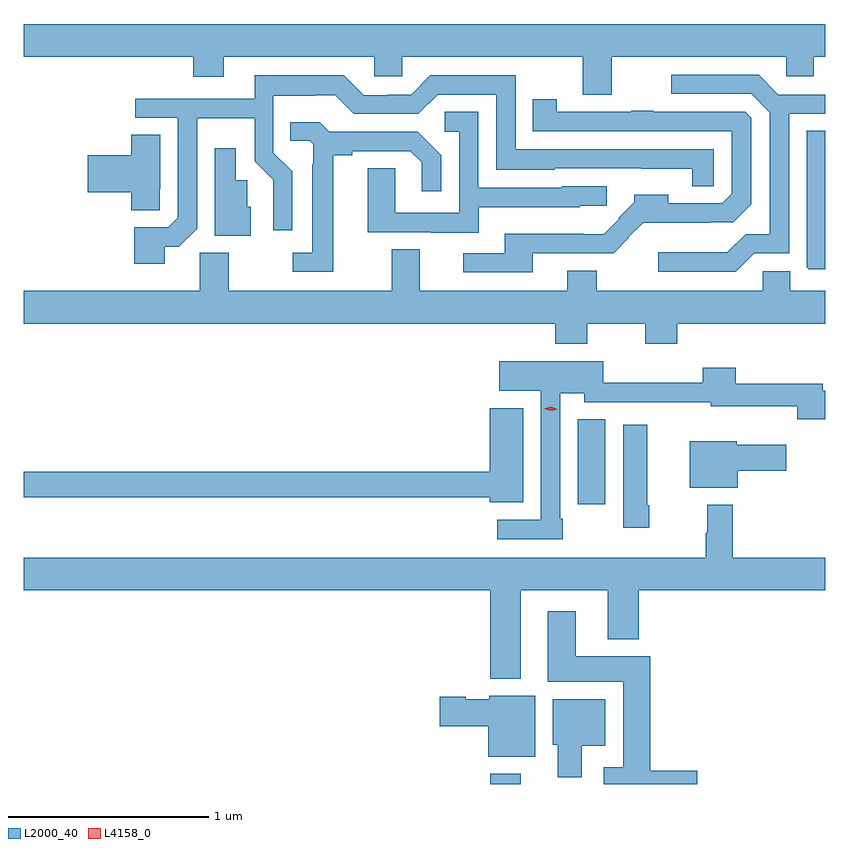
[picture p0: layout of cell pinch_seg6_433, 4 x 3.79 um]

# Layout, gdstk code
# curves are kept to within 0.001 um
import gdstk
lib = gdstk.Library(unit=1e-6, precision=1e-09)
def R(c, l, rs):  # rectangles x0, y0, x1, y1
    for r in rs: c.add(gdstk.rectangle(r[:2], r[2:], *l))
def P(c, l, *ps):  # polygons
    for p in ps: c.add(gdstk.Polygon(p, *l))
L2000_40 = (2000, 40)
L4158_0 = (4158, 0)

pinch_seg6_433 = lib.new_cell('pinch_seg6_433')
R(pinch_seg6_433, L2000_40, [(701.273,921.062,701.425,921.112), (701.711,922.458,701.848,922.883)])
P(pinch_seg6_433, L2000_40, [(701.881,924.692),(702.75,924.692),(702.75,924.594),(702.889,924.594),(702.889,924.692),(702.945,924.692),(702.945,924.856),(698.945,924.856),(698.945,924.692),(699.791,924.692),(699.791,924.593),(699.943,924.593),(699.943,924.692),(700.695,924.692),(700.695,924.594),(700.833,924.594),(700.833,924.692),(701.734,924.692),(701.734,924.502),(701.881,924.502)],
  [(702.591,923.712),(702.765,923.712),(702.765,924.408),(702.945,924.408),(702.945,924.504),(702.712,924.504),(702.613,924.603),(702.177,924.603),(702.177,924.507),(702.576,924.507),(702.669,924.414),(702.669,923.807),(702.548,923.807),(702.457,923.716),(702.111,923.716),(702.111,923.619),(702.498,923.619)],
  [(699.649,923.743),(699.717,923.743),(699.81,923.835),(699.81,924.386),(700.098,924.386),(700.098,924.17),(700.19,924.078),(700.19,923.826),(700.284,923.826),(700.284,924.12),(700.191,924.213),(700.191,924.497),(700.4,924.497),(700.4,924.501),(700.5,924.501),(700.593,924.408),(700.914,924.408),(701.01,924.504),(701.304,924.504),(701.304,924.128),(701.595,924.128),(701.595,924.135),(702.282,924.134),(702.282,924.046),(702.39,924.046),(702.39,924.231),(701.4,924.231),(701.4,924.6),(700.974,924.6),(700.878,924.504),(700.758,924.504),(700.758,924.501),(700.641,924.501),(700.541,924.601),(700.097,924.601),(700.097,924.483),(699.501,924.483),(699.501,924.387),(699.714,924.387),(699.714,923.889),(699.666,923.841),(699.497,923.841),(699.497,923.658),(699.649,923.658)],
  [(701.485,923.712),(701.889,923.712),(701.965,923.789),(701.963,923.791),(702.037,923.865),(702.371,923.864),(702.371,923.866),(702.487,923.866),(702.576,923.955),(702.576,924.387),(702.546,924.417),(702.089,924.417),(702.089,924.422),(701.977,924.422),(701.977,924.417),(701.604,924.417),(701.604,924.481),(701.485,924.481),(701.485,924.321),(702.48,924.321),(702.48,924.009),(702.432,923.961),(702.163,923.961),(702.163,924.004),(701.992,924.004),(701.992,923.965),(701.913,923.886),(701.916,923.883),(701.84,923.807),(701.738,923.807),(701.738,923.809),(701.345,923.809),(701.345,923.712),(701.139,923.712),(701.139,923.616),(701.485,923.616)],
  [(701.215,923.942),(701.721,923.942),(701.721,923.949),(701.856,923.949),(701.856,924.045),(701.631,924.045),(701.631,924.039),(701.214,924.039),(701.214,924.419),(701.046,924.419),(701.046,924.318),(701.118,924.318),(701.118,923.913),(700.8,923.913),(700.8,924.137),(700.661,924.137),(700.661,923.817),(700.979,923.817),(700.979,923.813),(701.215,923.813)],
  [(700.489,924.202),(700.585,924.202),(700.585,924.222),(700.874,924.222),(700.931,924.165),(700.931,924.021),(701.028,924.021),(701.028,924.202),(700.912,924.318),(700.47,924.318),(700.422,924.365),(700.276,924.365),(700.276,924.273),(700.371,924.273),(700.389,924.255),(700.389,924.155),(700.385,924.155),(700.385,923.715),(700.287,923.715),(700.287,923.619),(700.489,923.619)],
  [(702.945,924.323),(702.854,924.323),(702.854,923.641),(702.864,923.631),(702.945,923.631)],
  [(699.624,924.034),(699.625,924.034),(699.625,924.302),(699.482,924.302),(699.482,924.2),(699.264,924.2),(699.264,924.017),(699.482,924.017),(699.482,923.926),(699.624,923.926)],
  [(700.078,923.943),(700.059,923.943),(700.059,924.075),(700.003,924.075),(700.003,924.235),(699.899,924.235),(699.899,923.798),(700.078,923.798)],
  [(701.597,923.261),(701.757,923.261),(701.757,923.36),(702.046,923.36),(702.046,923.261),(702.206,923.261),(702.206,923.36),(702.945,923.36),(702.945,923.524),(702.772,923.524),(702.772,923.622),(702.633,923.622),(702.633,923.524),(701.805,923.524),(701.805,923.623),(701.657,923.623),(701.657,923.524),(700.921,923.524),(700.921,923.732),(700.781,923.732),(700.781,923.524),(699.969,923.524),(699.969,923.713),(699.822,923.713),(699.822,923.524),(698.945,923.524),(698.945,923.36),(701.597,923.36)],
  [(701.635,922.387),(701.622,922.387),(701.622,923.012),(701.742,923.012),(701.742,922.968),(702.154,922.968),(702.154,922.967),(702.375,922.967),(702.375,922.949),(702.806,922.949),(702.806,922.883),(702.945,922.883),(702.945,923.025),(702.934,923.025),(702.934,923.059),(702.5,923.059),(702.5,923.14),(702.335,923.14),(702.335,923.066),(701.838,923.066),(701.838,923.173),(701.319,923.173),(701.319,923.024),(701.526,923.024),(701.526,922.38),(701.307,922.38),(701.307,922.284),(701.635,922.284)],
  [(701.437,922.939),(701.27,922.939),(701.27,922.622),(698.945,922.622),(698.945,922.494),(701.27,922.494),(701.27,922.469),(701.437,922.469)],
  [(702.066,922.453),(702.058,922.453),(702.058,922.855),(701.936,922.855),(701.936,922.341),(702.066,922.341)],
  [(702.508,922.627),(702.751,922.627),(702.751,922.756),(702.504,922.756),(702.504,922.774),(702.269,922.774),(702.269,922.541),(702.508,922.541)],
  [(701.425,922.028),(701.861,922.028),(701.861,921.785),(702.014,921.785),(702.014,922.028),(702.945,922.028),(702.945,922.192),(702.485,922.192),(702.485,922.456),(702.357,922.456),(702.357,922.316),(702.349,922.316),(702.349,922.192),(698.945,922.192),(698.945,922.028),(701.273,922.028),(701.273,921.587),(701.425,921.587)],
  [(702.307,921.128),(702.071,921.128),(702.071,921.7),(701.701,921.7),(701.701,921.925),(701.561,921.925),(701.561,921.572),(701.936,921.572),(701.936,921.145),(701.841,921.145),(701.841,921.062),(702.307,921.062)],
  [(701.497,921.502),(701.268,921.502),(701.268,921.484),(701.151,921.484),(701.151,921.497),(701.022,921.497),(701.022,921.35),(701.264,921.35),(701.264,921.197),(701.497,921.197)],
  [(701.731,921.254),(701.848,921.254),(701.848,921.484),(701.585,921.484),(701.585,921.258),(701.609,921.258),(701.609,921.096),(701.731,921.096)])
P(pinch_seg6_433, L4158_0, [(701.575,922.925),(701.54,922.936),(701.54,922.936),(701.54,922.936),(701.575,922.945),(701.61,922.934),(701.61,922.934),(701.61,922.933)])

lib.write_gds('pinch_seg6_433.gds')
